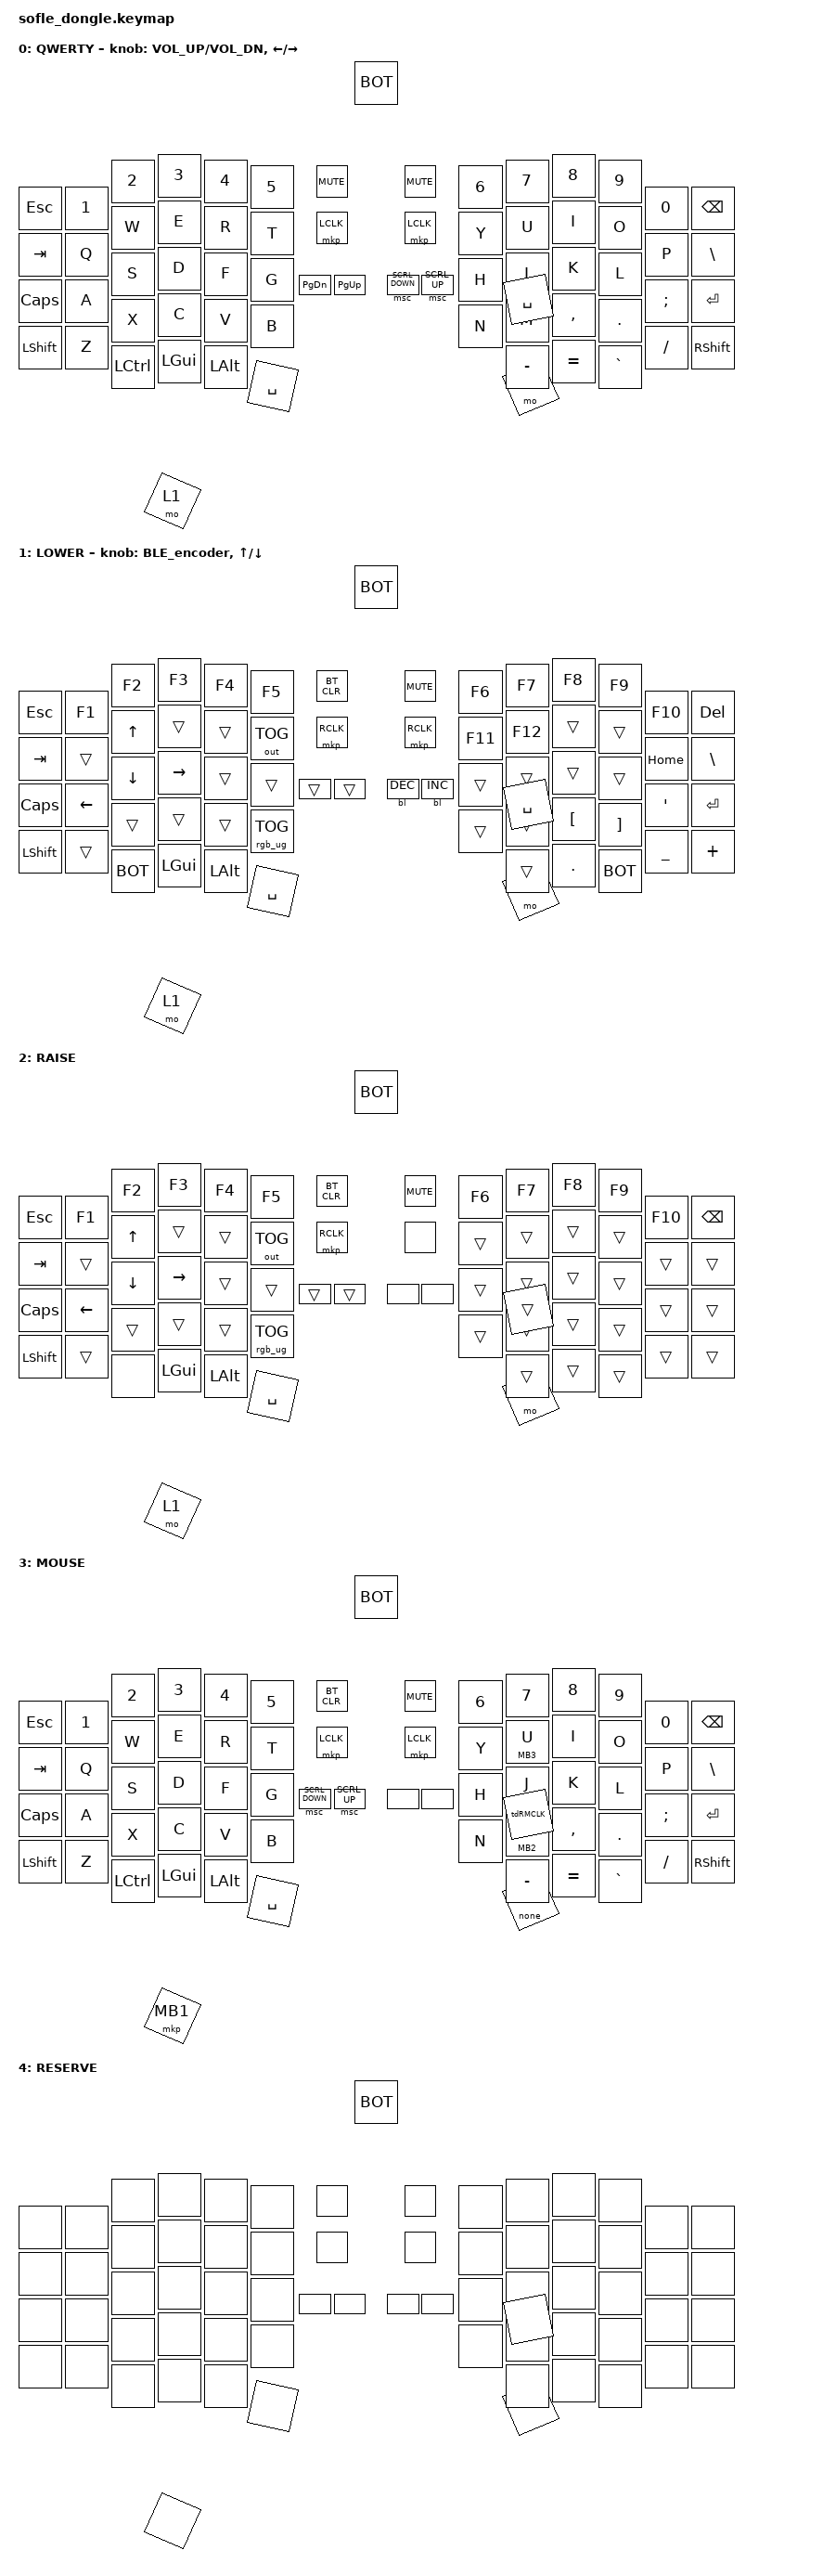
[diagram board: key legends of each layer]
/*
 * Copyright (c) 2025 ZitaoTech
 *
 * SPDX-License-Identifier: MIT
 */

#include <behaviors.dtsi>
#include <dt-bindings/zmk/behaviors.h>
#include <zephyr/dt-bindings/input/input-event-codes.h>
#include <dt-bindings/zmk/keys.h>
#include <dt-bindings/zmk/bt.h>
#include <dt-bindings/zmk/outputs.h>
#include <dt-bindings/zmk/mouse.h>
#include <dt-bindings/zmk/backlight.h>
#include <dt-bindings/zmk/ext_power.h>
#include <dt-bindings/zmk/rgb.h>

#define FUNC 1
#define RES 2
#define BOT bootloader

/ {
    input_processors {

        zip_temp_layer: zip_temp_layer {
            compatible = "zmk,input-processor-temp-layer";
            #input-processor-cells = <2>;
        };

        ip_behaviors0: ip_behaviors0 {
            compatible = "zmk,input-processor-behaviors";
            #input-processor-cells = <0>;
            type = <INPUT_EV_KEY>;
            codes = <INPUT_BTN_0>;
            bindings = <&kp RIGHT>;
        };
        ip_behaviors1: ip_behaviors1 {
            compatible = "zmk,input-processor-behaviors";
            #input-processor-cells = <0>;
            type = <INPUT_EV_KEY>;
            codes = <INPUT_BTN_1>;
            bindings = <&kp LEFT>;
        };
        ip_behaviors2: ip_behaviors2 {
            compatible = "zmk,input-processor-behaviors";
            #input-processor-cells = <0>;
            type = <INPUT_EV_KEY>;
            codes = <INPUT_BTN_2>;
            bindings = <&kp DOWN>;
        };
        ip_behaviors3: ip_behaviors3 {
            compatible = "zmk,input-processor-behaviors";
            #input-processor-cells = <0>;
            type = <INPUT_EV_KEY>;
            codes = <INPUT_BTN_3>;
            bindings = <&kp UP>;
        };
    };
};

/ {
    behaviors {
        td0: tap_dance_0 {
            compatible = "zmk,behavior-tap-dance";
            #binding-cells = <0>;
            tapping-term-ms = <400>;
            bindings = <&mkp LCLK>, <&bt BT_CLR>;
        };
    };
            behaviors {
        tdRMCLK: tap_dance_R_LMouse {
            compatible = "zmk,behavior-tap-dance";
            #binding-cells = <0>;
            tapping-term-ms = <400>;
            bindings = <&mkp RCLK>, <&mkp MCLK>;
        };
    };
    
    behaviors {
        hm: homerow_mods {
            compatible = "zmk,behavior-hold-tap";
            #binding-cells = <2>;
            tapping-term-ms = <500>;
            bindings = <&kp &kp>;
        };
    };

    behaviors {
         sp_sc: behavior_spacescroll {
           compatible = "zmk,behavior-hold-tap";
           #binding-cells = <2>;
           flavor = "tap-preferred";     /* 单击优先 */
           tapping-term-ms = <200>;       /* 长按阈值 */
           bindings = <&none &kp>;        /* hold=none, tap=space */
        };
    };

    behaviors {
         LMouse_sc: behavior_LMouse_Scroll {
           compatible = "zmk,behavior-hold-tap";
           #binding-cells = <2>;
           flavor = "tap-preferred";     /* 单击优先 */
           tapping-term-ms = <200>;       /* 长按阈值 */
           bindings = <&none &mkp>;        /* hold=none, tap=Lmouse */
        };
    };

    behaviors {
         M_kp: behavior_mouse_keypress {
           compatible = "zmk,behavior-hold-tap";
           #binding-cells = <2>;
           flavor = "tap-preferred";     /* 单击优先 */
           tapping-term-ms = <200>;       /* 长按阈值 */
           bindings = <&mkp &kp>;        /* hold=mou key press, tap=key*/
        };
    };

    behaviors {
        BLE_encoder: BLE_encoder {
            compatible = "zmk,behavior-sensor-rotate";
            #sensor-binding-cells = <0>;
            bindings = <&bt BT_NXT>, <&bt BT_PRV>;
        };
    };

    keymap {
        compatible = "zmk,keymap";

         default_layer {
            display-name = "QWERTY";
           bindings = <
                                                                            &BOT
&kp ESC   &kp N1   &kp N2     &kp N3   &kp N4    &kp N5    &kp C_MUTE                   &kp C_MUTE                     &kp N6      &kp N7      &kp N8    &kp N9    &kp N0   &kp BSPC            
&kp TAB   &kp Q    &kp W      &kp E    &kp R     &kp T                                                                 &kp Y       &kp U       &kp I     &kp O     &kp P    &kp BSLH
&kp CAPS  &kp A    &kp S      &kp D    &kp F     &kp G     &mkp LCLK                    &mkp LCLK                      &kp H       &kp J       &kp K     &kp L     &kp SEMI &kp ENTER
&kp LSHFT &kp Z    &kp X      &kp C    &kp V     &kp B     &kp PG_DN  &kp PG_UP         &msc SCRL_DOWN  &msc SCRL_UP   &kp N       &kp M       &kp COMMA &kp DOT   &kp FSLH &kp RSHIFT
                   &kp LCTRL  &kp LGUI &kp LALT  &kp SPACE &mo 1                                        &mo 1          &kp SPACE   &kp MINUS   &kp EQUAL    &kp GRAVE
           >;
           sensor-bindings = <&inc_dec_kp C_VOL_UP C_VOL_DN &inc_dec_kp LEFT RIGHT>;
        };


        lower_layer {
            display-name = "LOWER";
            bindings = <
                                                                                 &BOT
&kp ESC     &kp F1    &kp F2     &kp F3    &kp F4    &kp F5           &bt BT_CLR                   &kp C_MUTE             &kp F6    &kp F7   &kp F8     &kp F9    &kp F10    &kp DEL         
&kp TAB     &trans    &kp UP     &trans    &trans    &out OUT_TOG                                                         &kp F11   &kp F12  &trans     &trans    &kp HOME   &kp BSLH
&kp CAPS    &kp LEFT  &kp DOWN   &kp RIGHT &trans    &trans           &mkp RCLK                    &mkp RCLK              &trans    &trans   &trans     &trans    &kp SQT    &kp ENTER
&kp LSHFT   &trans    &trans     &trans    &trans    &rgb_ug RGB_TOG  &trans     &trans            &bl BL_DEC  &bl BL_INC &trans    &trans   &kp LBKT   &kp RBKT  &kp UNDER  &kp PLUS
                      &BOT       &kp LGUI  &kp LALT  &kp SPACE        &mo 1                                     &mo 1     &kp SPACE &trans   &kp DOT    &BOT 
            >;
            sensor-bindings = <&BLE_encoder &inc_dec_kp UP DOWN>;
        };

        raise_layer {
            display-name = "RAISE";
            bindings = <
                                                                       &BOT
&kp ESC     &kp F1    &kp F2     &kp F3    &kp F4    &kp F5           &bt BT_CLR                      &kp C_MUTE       &kp F6     &kp F7    &kp F8    &kp F9    &kp F10    &kp BSPC            
&kp TAB     &trans    &kp UP     &trans    &trans    &out OUT_TOG                                                      &trans     &trans    &trans    &trans    &trans     &trans
&kp CAPS    &kp LEFT  &kp DOWN   &kp RIGHT &trans    &trans           &mkp RCLK                       &none            &trans     &trans    &trans    &trans    &trans     &trans
&kp LSHFT   &trans    &trans     &trans    &trans    &rgb_ug RGB_TOG  &trans     &trans               &none  &none     &trans     &trans    &trans    &trans    &trans     &trans
                      &none      &kp LGUI  &kp LALT  &kp SPACE        &mo 1                                  &mo 1     &trans     &trans     &trans     &trans
            >;
        }; 
        MOUSE_layer {
            display-name = "MOUSE";
            bindings = <
                                                                         &BOT
&kp ESC   &kp N1    &kp N2     &kp N3   &kp N4   &kp N5     &bt BT_CLR                       &kp C_MUTE       &kp N6     &kp N7         &kp N8    &kp N9    &kp N0   &kp BSPC              
&kp TAB   &kp Q     &kp W      &kp E    &kp R    &kp T                                                        &kp Y      &M_kp MB3 U    &kp I     &kp O     &kp P    &kp BSLH
&kp CAPS  &kp A     &kp S      &kp D    &kp F    &kp G      &mkp LCLK                        &mkp LCLK        &kp H      &M_kp MB1 J    &kp K     &kp L     &kp SEMI &kp ENTER
&kp LSHFT &kp Z     &kp X      &kp C    &kp V    &kp B      &msc SCRL_DOWN   &msc SCRL_UP    &none  &none     &kp N      &M_kp MB2 M    &kp COMMA &kp DOT   &kp FSLH &kp RSHIFT
                    &kp LCTRL  &kp LGUI &kp LALT &kp SPACE  &mkp MB1                         &LMouse_sc 0 MB1 &tdRMCLK   &kp MINUS      &kp EQUAL    &kp GRAVE
            >;
        };
                RES_layer { 
            display-name = "RESERVE";
            bindings = <
                                                                         &BOT
&none     &none     &none      &none    &none    &none   &none                        &none            &none   &none  &none   &none  &none  &none            
&none     &none     &none      &none    &none    &none                                                 &none   &none  &none   &none  &none  &none
&none     &none     &none      &none    &none    &none   &none                        &none            &none   &none  &none   &none  &none  &none
&none     &none     &none      &none    &none    &none   &none   &none                &none  &none     &none   &none  &none   &none  &none  &none
                    &none      &none    &none    &none   &none                                         &none   &none  &none   &none  &none
            >;
        };
    };
};
